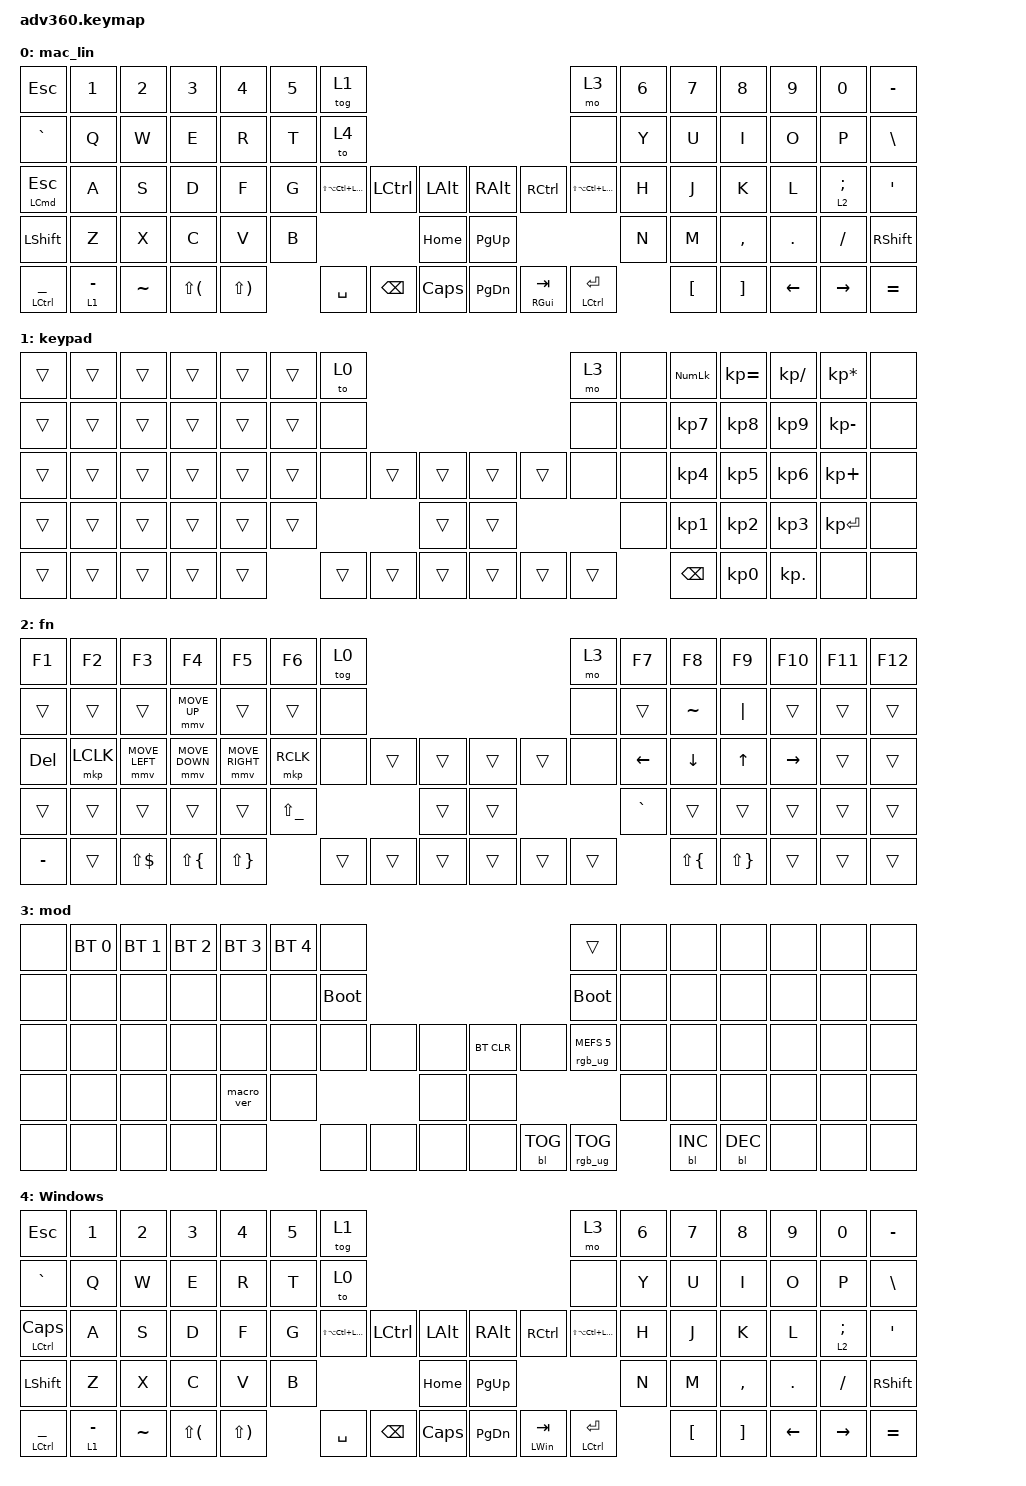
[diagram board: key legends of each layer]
#include <dt-bindings/zmk/mouse.h>
#include <behaviors.dtsi>
#include <dt-bindings/zmk/backlight.h>
#include <dt-bindings/zmk/bt.h>
#include <dt-bindings/zmk/keys.h>
#include <dt-bindings/zmk/pointing.h>
#include <dt-bindings/zmk/rgb.h>

/ {
    behaviors {
        #include "macros.dtsi"
      #include "version.dtsi"
      #ifndef VERSION_MACRO

        macro_ver: macro_ver {
            compatible = "zmk,behavior-macro";
            label = "macro_version";
            #binding-cells = <0>;
            bindings = <&kp RET>;
        };

        #endif

        hm: homerow_mods {
            compatible = "zmk,behavior-hold-tap";
            label = "HOMEROW_MODS";
            #binding-cells = <2>;
            tapping-term-ms = <200>;
            quick_tap_ms = <175>;
            flavor = "tap-preferred";
            bindings = <&kp>, <&kp>;
        };
    };

    macros {
    };

    keymap {
        compatible = "zmk,keymap";

        mac_lin {
            bindings = <
&kp ESCAPE                   &kp N1       &kp N2     &kp N3        &kp N4        &kp N5  &tog 1                                                                                   &mo 3                     &kp N6  &kp N7    &kp N8     &kp N9    &kp N0           &kp MINUS
&kp GRAVE                    &kp Q        &kp W      &kp E         &kp R         &kp T   &to 4                                                                                    &none                     &kp Y   &kp U     &kp I      &kp O     &kp P            &kp BSLH
&hm LEFT_COMMAND ESCAPE      &kp A        &kp S      &kp D         &kp F         &kp G   &kp LS(LA(LC(LEFT_WIN)))  &kp LCTRL      &kp LALT      &kp RIGHT_ALT  &kp RCTRL          &kp LS(LA(LC(LEFT_WIN)))  &kp H   &kp J     &kp K      &kp L     &lt 2 SEMICOLON  &kp SQT
&kp LSHFT                    &kp Z        &kp X      &kp C         &kp V         &kp B                                            &kp HOME      &kp PG_UP                                                   &kp N   &kp M     &kp COMMA  &kp DOT   &kp FSLH         &kp RSHFT
&mt LEFT_CONTROL UNDERSCORE  &lt 1 MINUS  &kp TILDE  &kp LS(LPAR)  &kp LS(RPAR)          &kp SPACE                 &kp BACKSPACE  &kp CAPS      &kp PG_DN      &hm RIGHT_GUI TAB  &hm LEFT_CONTROL ENTER            &kp LBKT  &kp RBKT   &kp LEFT  &kp RIGHT        &kp EQUAL
            >;
        };

        keypad {
            bindings = <
&trans  &trans  &trans  &trans  &trans  &trans  &to 0                                       &mo 3   &none  &kp KP_NUM     &kp KP_EQUAL     &kp KP_DIVIDE  &kp KP_MULTIPLY  &none
&trans  &trans  &trans  &trans  &trans  &trans  &none                                       &none   &none  &kp KP_N7      &kp KP_N8        &kp KP_N9      &kp KP_MINUS     &none
&trans  &trans  &trans  &trans  &trans  &trans  &none   &trans  &trans      &trans  &trans  &none   &none  &kp KP_N4      &kp KP_N5        &kp KP_N6      &kp KP_PLUS      &none
&trans  &trans  &trans  &trans  &trans  &trans                  &trans      &trans                  &none  &kp KP_N1      &kp KP_N2        &kp KP_N3      &kp KP_ENTER     &none
&trans  &trans  &trans  &trans  &trans          &trans  &trans  &trans      &trans  &trans  &trans         &kp BACKSPACE  &kp KP_NUMBER_0  &kp KP_DOT     &none            &none
            >;
        };

        fn {
            bindings = <
&kp F1      &kp F2     &kp F3          &kp F4          &kp F5           &kp F6         &tog 0                                      &mo 3   &kp F7          &kp F8          &kp F9        &kp F10    &kp F11  &kp F12
&trans      &trans     &trans          &mmv MOVE_UP    &trans           &trans         &none                                       &none   &trans          &kp TILDE       &kp PIPE      &trans     &trans   &trans
&kp DELETE  &mkp LCLK  &mmv MOVE_LEFT  &mmv MOVE_DOWN  &mmv MOVE_RIGHT  &mkp RCLK      &none   &trans  &trans      &trans  &trans  &none   &kp LEFT_ARROW  &kp DOWN_ARROW  &kp UP_ARROW  &kp RIGHT  &trans   &trans
&trans      &trans     &trans          &trans          &trans           &kp LS(UNDER)                  &trans      &trans                  &kp GRAVE       &trans          &trans        &trans     &trans   &trans
&kp MINUS   &trans     &kp LS(DLLR)    &kp LS(LBRC)    &kp LS(RBRC)                    &trans  &trans  &trans      &trans  &trans  &trans                  &kp LS(LBRC)    &kp LS(RBRC)  &trans     &trans   &trans
            >;
        };

        mod {
            bindings = <
&none  &bt BT_SEL 0  &bt BT_SEL 1  &bt BT_SEL 2  &bt BT_SEL 3  &bt BT_SEL 4  &none                                                  &trans                  &none  &none       &none       &none  &none  &none
&none  &none         &none         &none         &none         &none         &bootloader                                            &bootloader             &none  &none       &none       &none  &none  &none
&none  &none         &none         &none         &none         &none         &none        &none  &none      &bt BT_CLR  &none       &rgb_ug RGB_MEFS_CMD 5  &none  &none       &none       &none  &none  &none
&none  &none         &none         &none         &macro_ver    &none                             &none      &none                                           &none  &none       &none       &none  &none  &none
&none  &none         &none         &none         &none                       &none        &none  &none      &none       &bl BL_TOG  &rgb_ug RGB_TOG                &bl BL_INC  &bl BL_DEC  &none  &none  &none
            >;
        };

        Windows {
            bindings = <
&kp ESCAPE                   &kp N1       &kp N2     &kp N3        &kp N4        &kp N5  &tog 1                                                                                  &mo 3                     &kp N6  &kp N7    &kp N8     &kp N9    &kp N0           &kp MINUS
&kp GRAVE                    &kp Q        &kp W      &kp E         &kp R         &kp T   &to 0                                                                                   &none                     &kp Y   &kp U     &kp I      &kp O     &kp P            &kp BSLH
&hm LEFT_CONTROL CAPSLOCK    &kp A        &kp S      &kp D         &kp F         &kp G   &kp LS(LA(LC(LEFT_WIN)))  &kp LCTRL      &kp LALT      &kp RIGHT_ALT  &kp RCTRL         &kp LS(LA(LC(LEFT_WIN)))  &kp H   &kp J     &kp K      &kp L     &lt 2 SEMICOLON  &kp SQT
&kp LSHFT                    &kp Z        &kp X      &kp C         &kp V         &kp B                                            &kp HOME      &kp PG_UP                                                  &kp N   &kp M     &kp COMMA  &kp DOT   &kp FSLH         &kp RSHFT
&mt LEFT_CONTROL UNDERSCORE  &lt 1 MINUS  &kp TILDE  &kp LS(LPAR)  &kp LS(RPAR)          &kp SPACE                 &kp BACKSPACE  &kp CAPS      &kp PG_DN      &hm LEFT_WIN TAB  &hm LEFT_CONTROL ENTER            &kp LBKT  &kp RBKT   &kp LEFT  &kp RIGHT        &kp EQUAL
            >;
        };
    };
};
